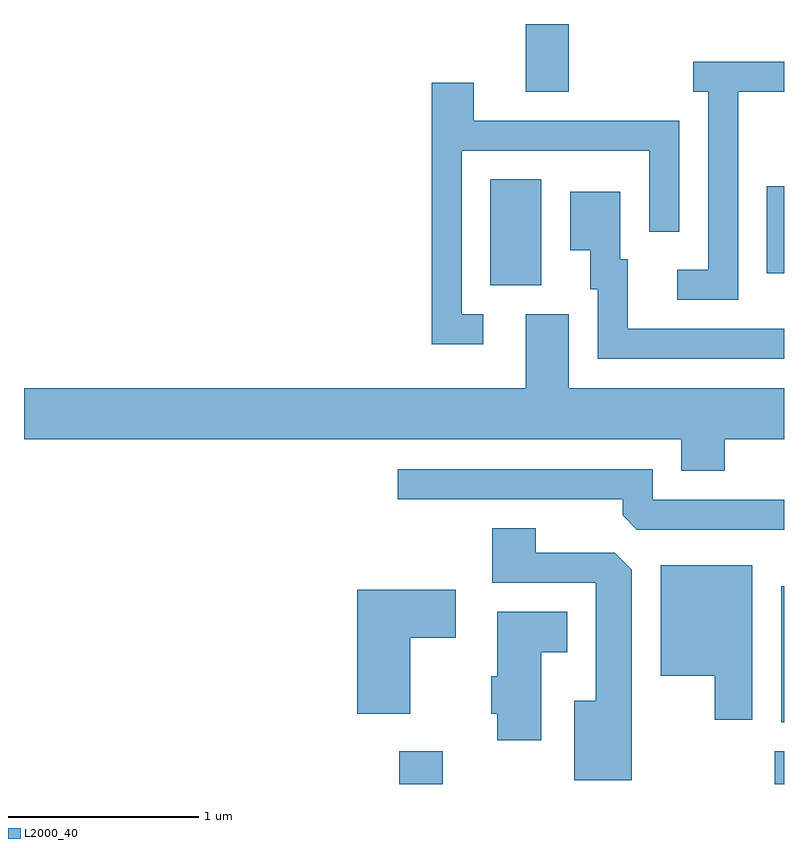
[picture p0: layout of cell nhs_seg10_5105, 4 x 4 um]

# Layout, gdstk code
import gdstk
lib = gdstk.Library(unit=1e-6, precision=1e-09)
def R(c, l, rs):  # rectangles x0, y0, x1, y1
    for r in rs: c.add(gdstk.rectangle(r[:2], r[2:], *l))
def P(c, l, *ps):  # polygons
    for p in ps: c.add(gdstk.Polygon(p, *l))
L2000_40 = (2000, 40)

nhs_seg10_5105 = lib.new_cell('nhs_seg10_5105')
R(nhs_seg10_5105, L2000_40, [(337.586,2136.522,337.814,2136.694), (339.561,2136.522,339.611,2136.694), (339.596,2136.846,339.611,2137.564), (338.066,2139.146,338.334,2139.704), (339.521,2139.211,339.611,2139.669), (338.251,2140.166,338.479,2140.522)])
P(nhs_seg10_5105, L2000_40, [(339.369,2140.166),(339.611,2140.166),(339.611,2140.324),(339.133,2140.324),(339.133,2140.166),(339.211,2140.166),(339.211,2139.229),(339.048,2139.229),(339.048,2139.071),(339.369,2139.071)],
  [(338.028,2138.994),(337.914,2138.994),(337.914,2139.856),(338.901,2139.856),(338.901,2139.428),(339.059,2139.428),(339.059,2140.014),(337.979,2140.014),(337.979,2140.214),(337.756,2140.214),(337.756,2138.836),(338.028,2138.836)],
  [(339.611,2138.919),(338.789,2138.919),(338.789,2139.284),(338.749,2139.284),(338.749,2139.639),(338.486,2139.639),(338.486,2139.331),(338.591,2139.331),(338.591,2139.126),(338.631,2139.126),(338.631,2138.761),(339.611,2138.761)],
  [(339.299,2138.336),(339.611,2138.336),(339.611,2138.604),(338.479,2138.604),(338.479,2138.994),(338.251,2138.994),(338.251,2138.604),(335.611,2138.604),(335.611,2138.336),(339.071,2138.336),(339.071,2138.171),(339.299,2138.171)],
  [(339.611,2138.019),(338.919,2138.019),(338.919,2138.179),(337.578,2138.179),(337.578,2138.021),(338.761,2138.021),(338.761,2137.937),(338.837,2137.861),(339.611,2137.861)],
  [(338.809,2137.649),(338.719,2137.739),(338.304,2137.739),(338.304,2137.869),(338.076,2137.869),(338.076,2137.581),(338.621,2137.581),(338.621,2136.959),(338.506,2136.959),(338.506,2136.541),(338.809,2136.541)],
  [(339.444,2137.674),(338.961,2137.674),(338.961,2137.091),(339.246,2137.091),(339.246,2136.861),(339.444,2136.861)],
  [(337.644,2137.291),(337.884,2137.291),(337.884,2137.544),(337.366,2137.544),(337.366,2136.891),(337.644,2136.891)],
  [(338.334,2137.216),(338.469,2137.216),(338.469,2137.429),(338.101,2137.429),(338.101,2137.089),(338.071,2137.089),(338.071,2136.891),(338.101,2136.891),(338.101,2136.751),(338.334,2136.751)])

lib.write_gds('nhs_seg10_5105.gds')
